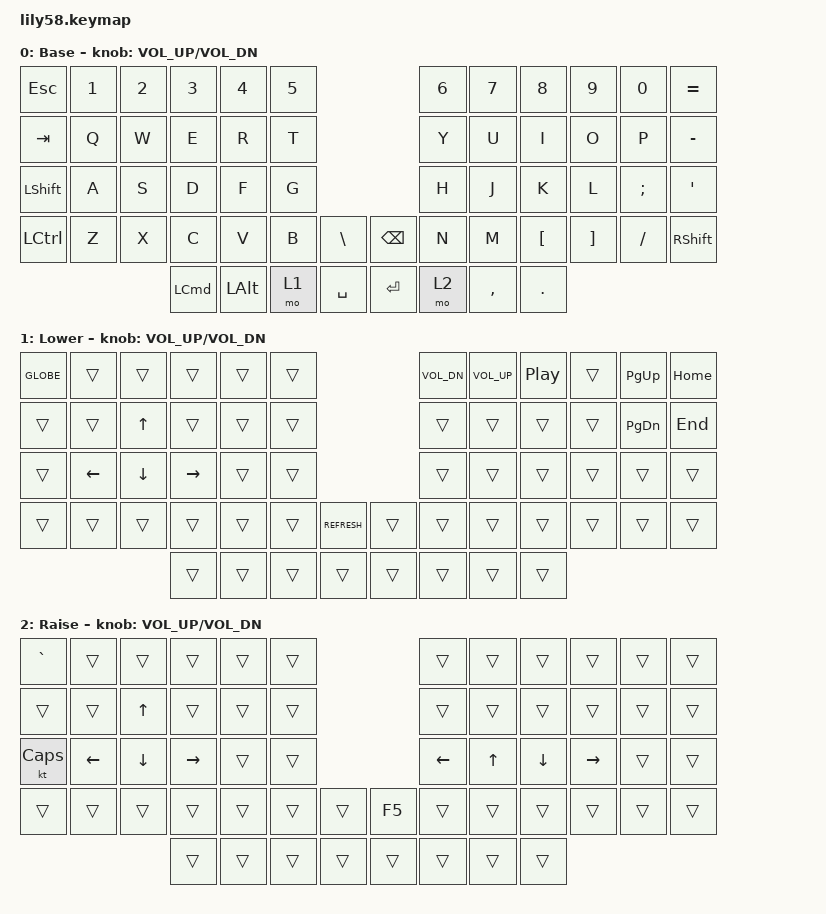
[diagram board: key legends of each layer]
/*
 * Copyright (c) 2020 The ZMK Contributors
 *
 * SPDX-License-Identifier: MIT
 */

#include <behaviors.dtsi>
#include <dt-bindings/zmk/keys.h>

/ {
    keymap {
        compatible = "zmk,keymap";

        default_layer {
            // ------------------------------------------------------------------------------------------------------------
            // |  ESC  |  1  |  2  |  3   |  4   |  5   |                   |  6   |  7    |  8    |  9   |   0   |   `   |
            // |  TAB  |  Q  |  W  |  E   |  R   |  T   |                   |  Y   |  U    |  I    |  O   |   P   |   -   |
            // |  CTRL |  A  |  S  |  D   |  F   |  G   |                   |  H   |  J    |  K    |  L   |   ;   |   '   |
            // | SHIFT |  Z  |  X  |  C   |  V   |  B   |   "["  |  |  "]"  |  N   |  M    |  ,    |  .   |   /   | SHIFT |
            //                     | ALT  | GUI  | LOWER|  SPACE |  | ENTER | RAISE| BSPC  | GUI   |

            display-name = "Base";
            bindings = <
&kp ESC         &kp N1  &kp N2  &kp N3            &kp N4        &kp N5                                  &kp N6  &kp N7     &kp N8            &kp N9             &kp N0    &kp EQUAL
&kp TAB         &kp Q   &kp W   &kp E             &kp R         &kp T                                   &kp Y   &kp U      &kp I             &kp O              &kp P     &kp MINUS
&kp LEFT_SHIFT  &kp A   &kp S   &kp D             &kp F         &kp G                                   &kp H   &kp J      &kp K             &kp L              &kp SEMI  &kp SQT
&kp LCTRL       &kp Z   &kp X   &kp C             &kp V         &kp B   &kp BACKSLASH    &kp BACKSPACE  &kp N   &kp M      &kp LEFT_BRACKET  &kp RIGHT_BRACKET  &kp FSLH  &kp RSHFT
                                &kp LEFT_COMMAND  &kp LEFT_ALT  &mo 1   &kp SPACE        &kp RET        &mo 2   &kp COMMA  &kp DOT
            >;

            sensor-bindings = <&inc_dec_kp C_VOL_UP C_VOL_DN>;
        };

        lower_layer {
            // ------------------------------------------------------------------------------------------------------------
            // | BTCLR | BT1 | BT2 |  BT3 |  BT4 |  BT5 |                   |      |       |       |      |       |       |
            // |  F1   |  F2 |  F3 |  F4  |  F5  |  F6  |                   |  F7  |  F8   |  F9   |  F10 |  F11  |  F12  |
            // |   `   |  !  |  @  |  #   |  $   |  %   |                   |  ^   |  &    |  *    |  (   |   )   |   ~   |
            // |       |     |     |      |      |      |        |  |       |      |  _    |  +    |  {   |   }   |  "|"  |
            //                     |      |      |      |        |  |       |      |       |       |

            display-name = "Lower";
            bindings = <
&kp GLOBE  &trans    &trans    &trans     &trans  &trans                           &kp C_VOL_DN  &kp C_VOLUME_UP  &kp C_PLAY_PAUSE  &trans  &kp PG_UP  &kp HOME
&trans     &trans    &kp UP    &trans     &trans  &trans                           &trans        &trans           &trans            &trans  &kp PG_DN  &kp END
&trans     &kp LEFT  &kp DOWN  &kp RIGHT  &trans  &trans                           &trans        &trans           &trans            &trans  &trans     &trans
&trans     &trans    &trans    &trans     &trans  &trans  &kp K_REFRESH    &trans  &trans        &trans           &trans            &trans  &trans     &trans
                               &trans     &trans  &trans  &trans           &trans  &trans        &trans           &trans
            >;

            sensor-bindings = <&inc_dec_kp C_VOL_UP C_VOL_DN>;
        };

        raise_layer {
            // ------------------------------------------------------------------------------------------------------------
            // |       |     |     |      |      |      |                   |      |       |       |      |       |       |
            // |   `   |  1  |  2  |  3   |  4   |  5   |                   |  6   |   7   |   8   |  9   |   0   |       |
            // |   F1  |  F2 |  F3 |  F4  |  F5  |  F6  |                   |      |   <-  |   v   |  ^   |  ->   |       |
            // |   F7  |  F8 |  F9 |  F10 |  F11 |  F12 |        |  |       |  +   |   -   |   =   |  [   |   ]   |   \   |
            //                     |      |      |      |        |  |       |      |       |       |

            display-name = "Raise";
            bindings = <
&kp GRAVE     &trans          &trans          &trans           &trans  &trans                    &trans          &trans        &trans    &trans           &trans  &trans
&trans        &trans          &kp UP_ARROW    &trans           &trans  &trans                    &trans          &trans        &trans    &trans           &trans  &trans
&kt CAPSLOCK  &kp LEFT_ARROW  &kp DOWN_ARROW  &kp RIGHT_ARROW  &trans  &trans                    &kp LEFT_ARROW  &kp UP_ARROW  &kp DOWN  &kp RIGHT_ARROW  &trans  &trans
&trans        &trans          &trans          &trans           &trans  &trans  &trans    &kp F5  &trans          &trans        &trans    &trans           &trans  &trans
                                              &trans           &trans  &trans  &trans    &trans  &trans          &trans        &trans
            >;

            sensor-bindings = <&inc_dec_kp C_VOL_UP C_VOL_DN>;
        };

        extra_1 { status = "reserved"; };

        extra_2 { status = "reserved"; };

        extra_3 { status = "reserved"; };
    };
};
